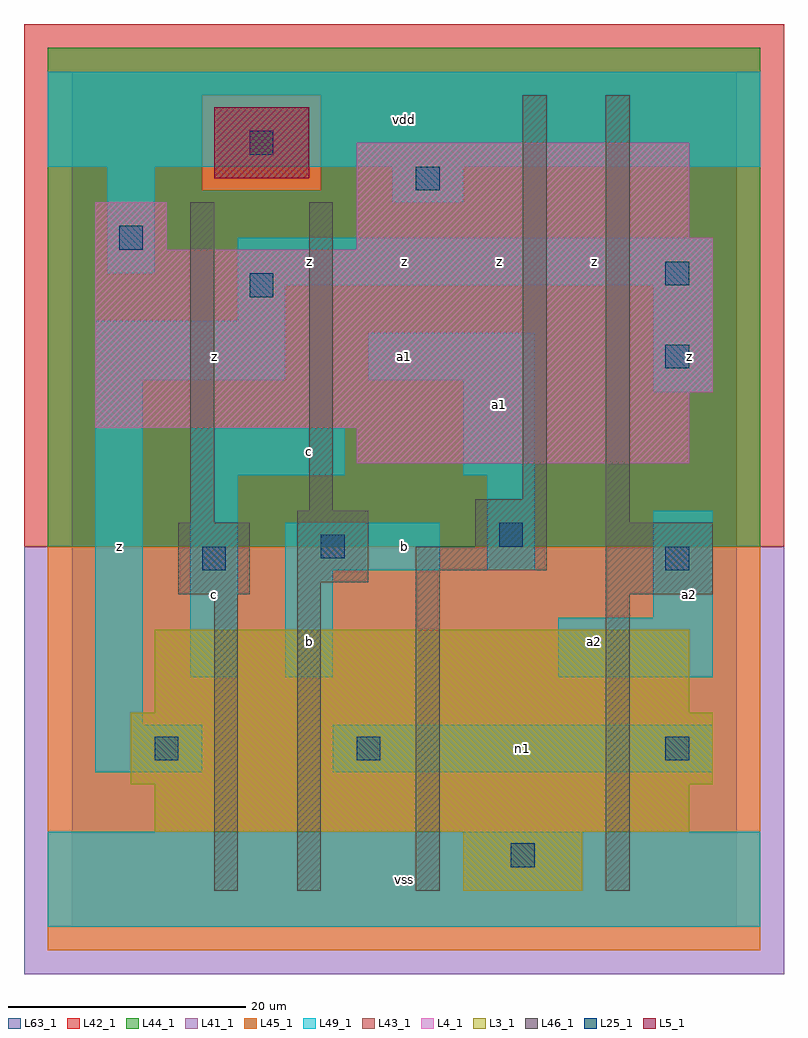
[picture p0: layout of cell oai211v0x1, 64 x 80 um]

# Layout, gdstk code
import gdstk
lib = gdstk.Library(unit=1e-6, precision=1e-09)
def R(c, l, rs):  # rectangles x0, y0, x1, y1
    for r in rs: c.add(gdstk.rectangle(r[:2], r[2:], *l))
L3_1 = (3, 1)
L4_1 = (4, 1)
L5_1 = (5, 1)
L25_1 = (25, 1)
L41_1 = (41, 1)
L42_1 = (42, 1)
L43_1 = (43, 1)
L44_1 = (44, 1)
L45_1 = (45, 1)
L46_1 = (46, 1)
L49_1 = (49, 1)
L63_1 = (63, 1)

oai211v0x1 = lib.new_cell('oai211v0x1')
R(oai211v0x1, L3_1, [(33,3,43,8), (7,8,52,12), (5,12,54,18), (7,18,52,25)])
R(oai211v0x1, L4_1, [(24,39,52,42), (2,42,52,45), (2,45,54,57), (2,57,8,61), (24,57,54,58), (24,58,52,66)])
R(oai211v0x1, L5_1, [(12,63,20,69)])
R(oai211v0x1, L25_1, [(37,5,39,7), (7,14,9,16), (24,14,26,16), (50,14,52,16), (11,30,13,32), (50,30,52,32), (21,31,23,33), (36,32,38,34), (50,47,52,49), (15,53,17,55), (50,54,52,56), (4,57,6,59), (29,62,31,64), (15,65,17,67)])
R(oai211v0x1, L41_1, [(-4,-4,60,32)])
R(oai211v0x1, L42_1, [(-4,32,60,76)])
R(oai211v0x1, L43_1, [(33,3,43,8), (7,8,52,12), (5,12,54,18), (7,18,52,25), (24,39,52,42), (2,42,52,45), (2,45,54,57), (2,57,8,61), (24,57,54,58), (24,58,52,66), (12,63,20,69)])
R(oai211v0x1, L44_1, [(-2,32,58,62), (-2,62,11,70), (21,62,58,70), (-2,70,58,74)])
R(oai211v0x1, L45_1, [(-2,-2,58,32), (11,62,21,70)])
R(oai211v0x1, L46_1, [(12,3,14,28), (19,3,21,29), (29,3,31,30), (45,3,47,28), (9,28,15,34), (45,28,54,34), (19,29,25,35), (29,30,40,32), (34,32,40,36), (10,34,12,61), (45,34,47,70), (20,35,22,61), (38,36,40,70)])
R(oai211v0x1, L49_1, [(-2,0,58,8), (2,13,11,17), (22,13,54,17), (2,17,6,46), (10,21,14,38), (18,21,22,30), (41,21,54,26), (49,26,54,35), (18,30,31,34), (35,30,39,38), (10,38,23,42), (33,38,39,46), (49,45,54,54), (2,46,18,51), (25,46,39,50), (14,51,18,54), (14,54,54,58), (3,55,7,64), (27,61,33,64), (-2,64,58,72)])
R(oai211v0x1, L63_1, [(0,0,56,72)])
oai211v0x1.add(gdstk.Label('z', (4,32), layer=49, texttype=1))
oai211v0x1.add(gdstk.Label('c', (12,28), layer=49, texttype=1))
oai211v0x1.add(gdstk.Label('z', (12,48), layer=49, texttype=1))
oai211v0x1.add(gdstk.Label('vss', (28,4), layer=49, texttype=1))
oai211v0x1.add(gdstk.Label('b', (20,24), layer=49, texttype=1))
oai211v0x1.add(gdstk.Label('b', (28,32), layer=49, texttype=1))
oai211v0x1.add(gdstk.Label('c', (20,40), layer=49, texttype=1))
oai211v0x1.add(gdstk.Label('a1', (28,48), layer=49, texttype=1))
oai211v0x1.add(gdstk.Label('z', (28,56), layer=49, texttype=1))
oai211v0x1.add(gdstk.Label('z', (20,56), layer=49, texttype=1))
oai211v0x1.add(gdstk.Label('vdd', (28,68), layer=49, texttype=1))
oai211v0x1.add(gdstk.Label('a2', (44,24), layer=49, texttype=1))
oai211v0x1.add(gdstk.Label('a1', (36,44), layer=49, texttype=1))
oai211v0x1.add(gdstk.Label('z', (44,56), layer=49, texttype=1))
oai211v0x1.add(gdstk.Label('z', (36,56), layer=49, texttype=1))
oai211v0x1.add(gdstk.Label('n1', (38,15), layer=49, texttype=1))
oai211v0x1.add(gdstk.Label('a2', (52,28), layer=49, texttype=1))
oai211v0x1.add(gdstk.Label('z', (52,48), layer=49, texttype=1))

lib.write_gds('oai211v0x1.gds')
